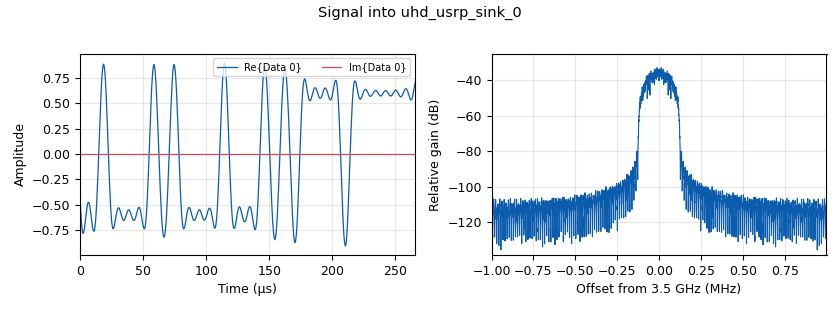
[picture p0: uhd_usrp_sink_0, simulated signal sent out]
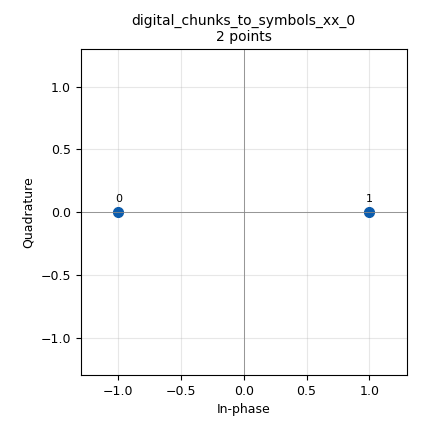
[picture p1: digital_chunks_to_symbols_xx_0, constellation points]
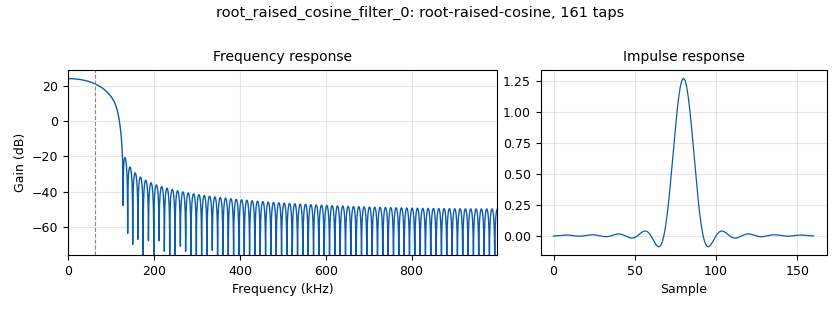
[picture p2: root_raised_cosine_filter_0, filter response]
options:
  parameters:
    generate_options: no_gui
    id: CSTX_noGUI
    output_language: python
    title: Not titled yet
  states: {}

blocks:
- name: alpha
  id: variable
  parameters:
    value: '0.99'
  states: {}
- name: samp_rate
  id: variable
  parameters:
    value: 2e6
  states: {}
- name: sps
  id: variable
  parameters:
    value: '16'
  states: {}
- name: args
  id: parameter
  parameters:
    type: str
    value: ''
  states: {}
- name: blocks_multiply_const_vxx_0
  id: blocks_multiply_const_vxx
  parameters:
    const: '0.6'
    type: complex
  states: {}
- name: channel
  id: parameter
  parameters:
    comment: |-
      0 - Port A
      1 - Port B
    type: intx
    value: '0'
  states: {}
- name: digital_chunks_to_symbols_xx_0
  id: digital_chunks_to_symbols_xx
  parameters:
    dimension: '1'
    in_type: byte
    out_type: complex
    symbol_table: (-1,1)
  states: {}
- name: digital_glfsr_source_x_0
  id: digital_glfsr_source_x
  parameters:
    degree: '12'
    mask: '0'
    repeat: 'True'
    seed: '1'
    type: byte
  states: {}
- name: freq
  id: parameter
  parameters:
    type: eng_float
    value: 3.5e9
  states: {}
- name: gaintx
  id: parameter
  parameters:
    type: eng_float
    value: '76'
  states: {}
- name: interp_fir_filter_xxx_0
  id: interp_fir_filter_xxx
  parameters:
    interp: sps
    taps: '[1]+[0]*(sps-1)'
    type: ccc
  states: {}
- name: root_raised_cosine_filter_0
  id: root_raised_cosine_filter
  parameters:
    alpha: alpha
    decim: '1'
    gain: sps
    ntaps: 10*sps+1
    samp_rate: samp_rate
    sym_rate: samp_rate/sps
    type: fir_filter_ccf
  states: {}
- name: uhd_usrp_sink_0
  id: uhd_usrp_sink
  parameters:
    ant0: TX/RX
    center_freq0: freq
    dev_args: args
    gain0: gaintx
    len_tag_name: ''
    norm_gain0: 'False'
    samp_rate: samp_rate
    stream_chans: channel
    sync: sync
    type: fc32
  states: {}

connections:
- [blocks_multiply_const_vxx_0, '0', uhd_usrp_sink_0, '0']
- [digital_chunks_to_symbols_xx_0, '0', interp_fir_filter_xxx_0, '0']
- [digital_glfsr_source_x_0, '0', digital_chunks_to_symbols_xx_0, '0']
- [interp_fir_filter_xxx_0, '0', root_raised_cosine_filter_0, '0']
- [root_raised_cosine_filter_0, '0', blocks_multiply_const_vxx_0, '0']

metadata:
  file_format: 1
